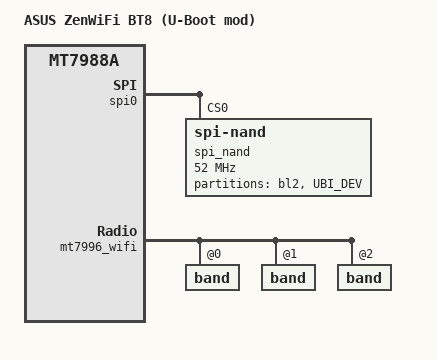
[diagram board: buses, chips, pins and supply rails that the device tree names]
// SPDX-License-Identifier: (GPL-2.0 OR MIT)

#include "mt7988d-asus-zenwifi-bt8.dtsi"

/ {
	model = "ASUS ZenWiFi BT8 (U-Boot mod)";
	compatible = "asus,zenwifi-bt8-ubootmod", "mediatek,mt7988a";

	chosen {
		rootdisk = <&ubi_fit_volume>;
		stdout-path = "serial0:115200n8";
	};
};

&spi0 {
	pinctrl-names = "default";
	pinctrl-0 = <&spi0_flash_pins>;
	status = "okay";

	spi_nand: spi_nand@0 {
		compatible = "spi-nand";
		reg = <0>;
		spi-max-frequency = <52000000>;
		spi-tx-buswidth = <4>;
		spi-rx-buswidth = <4>;

		partitions {
			compatible = "fixed-partitions";
			#address-cells = <1>;
			#size-cells = <1>;

			partition@0 {
				reg = <0x0 0x200000>;
				label = "bl2";
				read-only;
			};

			partition@200000 {
				reg = <0x200000 0x7e00000>;
				compatible = "linux,ubi";
				label = "UBI_DEV";

				volumes {
					ubi_factory: ubi-volume-factory {
						volname = "factory";
					};

					ubi_fit_volume: ubi-volume-fit {
						volname = "fit";
					};
				};
			};
		};
	};
};

&ubi_factory {
	ASUS_BT8_NVMEM_LAYOUT;
};

&gmac0 {
	nvmem-cells = <&macaddr_factory_4>;
	nvmem-cell-names = "mac-address";
};

&gmac1 {
	nvmem-cells = <&macaddr_factory_a>;
	nvmem-cell-names = "mac-address";
};

&gmac2 {
	nvmem-cells = <&macaddr_factory_4>;
	nvmem-cell-names = "mac-address";
};

&mt7996_wifi {
	#address-cells = <1>;
	#size-cells = <0>;
	nvmem-cells = <&eeprom_factory_0>;
	nvmem-cell-names = "eeprom";

	band@0 {
		/* 2.4 GHz */
		reg = <0>;
		nvmem-cells = <&macaddr_factory_fffee>;
		nvmem-cell-names = "mac-address";
	};

	band@1 {
		/* 5 GHz */
		reg = <1>;
		nvmem-cells = <&macaddr_factory_ffff4>;
		nvmem-cell-names = "mac-address";
	};

	band@2 {
		/* 6 GHz */
		reg = <2>;
		nvmem-cells = <&macaddr_factory_ffffa>;
		nvmem-cell-names = "mac-address";
	};
};
